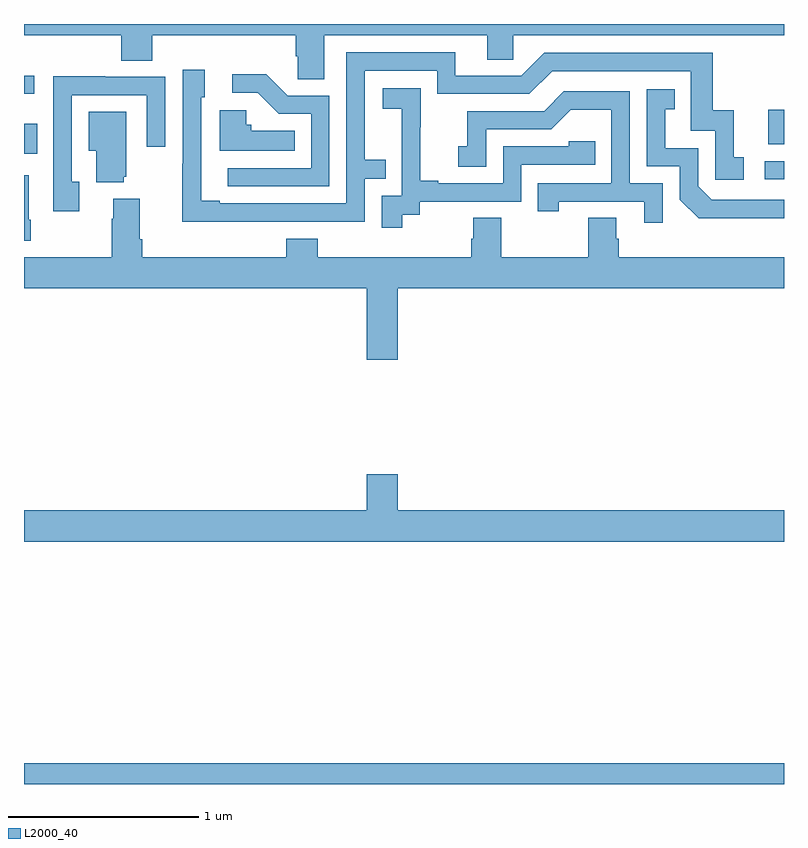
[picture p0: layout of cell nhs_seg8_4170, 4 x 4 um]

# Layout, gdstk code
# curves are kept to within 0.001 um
import gdstk
lib = gdstk.Library(unit=1e-6, precision=1e-09)
def R(c, l, rs):  # rectangles x0, y0, x1, y1
    for r in rs: c.add(gdstk.rectangle(r[:2], r[2:], *l))
def P(c, l, *ps):  # polygons
    for p in ps: c.add(gdstk.Polygon(p, *l))
L2000_40 = (2000, 40)

nhs_seg8_4170 = lib.new_cell('nhs_seg8_4170')
R(nhs_seg8_4170, L2000_40, [(367,1105.9,371,1106.008), (370.899,1109.082,371,1109.178), (367,1109.216,367.069,1109.374), (370.916,1109.267,371,1109.449), (367,1109.532,367.054,1109.628)])
P(nhs_seg8_4170, L2000_40, [(368.581,1109.84),(369.437,1109.84),(369.437,1109.713),(369.576,1109.713),(369.576,1109.84),(371,1109.84),(371,1109.9),(367,1109.9),(367,1109.84),(367.511,1109.84),(367.511,1109.707),(367.676,1109.707),(367.676,1109.84),(368.429,1109.84),(368.429,1109.731),(368.442,1109.731),(368.442,1109.608),(368.581,1109.608)],
  [(368.297,1108.86),(368.793,1108.86),(368.793,1109.085),(368.903,1109.085),(368.903,1109.186),(368.793,1109.186),(368.793,1109.655),(369.174,1109.655),(369.174,1109.532),(369.66,1109.532),(369.78,1109.652),(370.509,1109.652),(370.509,1109.337),(370.638,1109.337),(370.638,1109.079),(370.789,1109.079),(370.789,1109.199),(370.736,1109.199),(370.736,1109.446),(370.625,1109.446),(370.625,1109.748),(369.738,1109.748),(369.618,1109.628),(369.271,1109.628),(369.271,1109.751),(368.697,1109.751),(368.697,1108.956),(368.029,1108.956),(368.029,1108.969),(367.932,1108.969),(367.932,1109.514),(367.951,1109.514),(367.951,1109.659),(367.836,1109.659),(367.836,1109.165),(367.834,1109.165),(367.834,1108.859)],
  [(368.607,1109.523),(368.388,1109.523),(368.275,1109.636),(368.097,1109.636),(368.097,1109.538),(368.231,1109.538),(368.342,1109.427),(368.511,1109.427),(368.511,1109.142),(368.073,1109.142),(368.073,1109.046),(368.607,1109.046)],
  [(367.291,1109.07),(367.251,1109.07),(367.251,1109.526),(367.647,1109.526),(367.647,1109.253),(367.743,1109.253),(367.743,1109.622),(367.427,1109.622),(367.427,1109.624),(367.155,1109.624),(367.155,1108.914),(367.291,1108.914)],
  [(368.992,1108.897),(369.084,1108.897),(369.084,1108.965),(369.618,1108.965),(369.618,1109.16),(370.007,1109.16),(370.007,1109.283),(369.867,1109.283),(369.867,1109.256),(369.522,1109.256),(369.522,1109.061),(369.181,1109.061),(369.181,1109.074),(369.086,1109.074),(369.086,1109.357),(369.087,1109.357),(369.087,1109.563),(368.889,1109.563),(368.889,1109.453),(368.987,1109.453),(368.987,1109.225),(368.988,1109.225),(368.988,1108.995),(368.883,1108.995),(368.883,1108.827),(368.992,1108.827)],
  [(370.958,1108.878),(371,1108.878),(371,1108.974),(370.62,1108.974),(370.548,1109.046),(370.548,1109.247),(370.375,1109.247),(370.375,1109.451),(370.424,1109.451),(370.424,1109.557),(370.278,1109.557),(370.278,1109.151),(370.452,1109.151),(370.452,1108.974),(370.55,1108.877)],
  [(370.362,1109.061),(370.188,1109.061),(370.188,1109.547),(369.842,1109.547),(369.737,1109.442),(369.334,1109.442),(369.334,1109.257),(369.285,1109.257),(369.285,1109.148),(369.432,1109.148),(369.432,1109.346),(369.774,1109.346),(369.878,1109.45),(370.092,1109.45),(370.092,1109.061),(369.703,1109.061),(369.703,1108.914),(369.814,1108.914),(369.814,1108.965),(370.265,1108.965),(370.265,1108.854),(370.362,1108.854)],
  [(368.426,1109.338),(368.196,1109.338),(368.196,1109.37),(368.169,1109.37),(368.169,1109.446),(368.03,1109.446),(368.03,1109.234),(368.426,1109.234)],
  [(367.526,1109.097),(367.537,1109.097),(367.537,1109.437),(367.34,1109.437),(367.34,1109.234),(367.379,1109.234),(367.379,1109.066),(367.526,1109.066)],
  [(367.036,1108.87),(367.024,1108.87),(367.024,1109.103),(367,1109.103),(367,1108.758),(367.036,1108.758)],
  [(368.968,1108.508),(371,1108.508),(371,1108.672),(370.13,1108.672),(370.13,1108.77),(370.117,1108.77),(370.117,1108.88),(369.97,1108.88),(369.97,1108.672),(369.513,1108.672),(369.513,1108.88),(369.365,1108.88),(369.365,1108.77),(369.353,1108.77),(369.353,1108.672),(368.546,1108.672),(368.546,1108.771),(368.381,1108.771),(368.381,1108.672),(367.622,1108.672),(367.622,1108.768),(367.609,1108.768),(367.609,1108.981),(367.469,1108.981),(367.469,1108.874),(367.462,1108.874),(367.462,1108.672),(367,1108.672),(367,1108.508),(368.804,1108.508),(368.804,1108.134),(368.968,1108.134)],
  [(371,1107.34),(368.968,1107.34),(368.968,1107.529),(368.804,1107.529),(368.804,1107.34),(367,1107.34),(367,1107.176),(371,1107.176)])

lib.write_gds('nhs_seg8_4170.gds')
